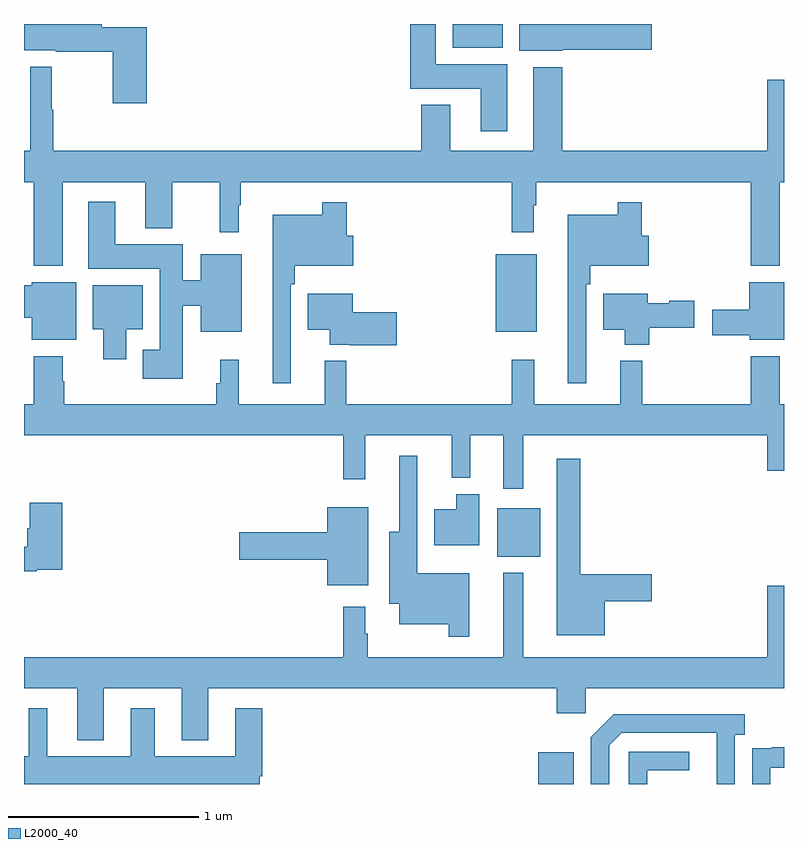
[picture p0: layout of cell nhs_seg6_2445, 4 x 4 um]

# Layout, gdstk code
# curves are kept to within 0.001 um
import gdstk
lib = gdstk.Library(unit=1e-6, precision=1e-09)
def R(c, l, rs):  # rectangles x0, y0, x1, y1
    for r in rs: c.add(gdstk.rectangle(r[:2], r[2:], *l))
def P(c, l, *ps):  # polygons
    for p in ps: c.add(gdstk.Polygon(p, *l))
L2000_40 = (2000, 40)

nhs_seg6_2445 = lib.new_cell('nhs_seg6_2445')
R(nhs_seg6_2445, L2000_40, [(259.706,945.5,259.894,945.667), (259.49,946.697,259.717,946.951), (259.484,947.879,259.699,948.289), (259.256,949.376,259.519,949.5)])
P(nhs_seg6_2445, L2000_40, [(259.836,949.364),(260.305,949.364),(260.305,949.5),(259.607,949.5),(259.607,949.358),(259.836,949.358)],
  [(257.645,949.484),(257.41,949.484),(257.41,949.5),(257,949.5),(257,949.361),(257.166,949.361),(257.166,949.355),(257.467,949.355),(257.467,949.083),(257.645,949.083)],
  [(259.543,949.288),(259.168,949.288),(259.168,949.5),(259.034,949.5),(259.034,949.16),(259.403,949.16),(259.403,948.936),(259.543,948.936)],
  [(257.203,948.668),(257.639,948.668),(257.639,948.425),(257.779,948.425),(257.779,948.668),(258.031,948.668),(258.031,948.405),(258.13,948.405),(258.13,948.545),(258.142,948.545),(258.142,948.668),(259.567,948.668),(259.567,948.405),(259.684,948.405),(259.684,948.545),(259.696,948.545),(259.696,948.668),(260.825,948.668),(260.825,948.227),(260.977,948.227),(260.977,948.668),(261,948.668),(261,949.207),(260.912,949.207),(260.912,948.832),(259.832,948.832),(259.832,949.273),(259.679,949.273),(259.679,948.832),(259.243,948.832),(259.243,949.075),(259.091,949.075),(259.091,948.832),(257.154,948.832),(257.154,949.049),(257.147,949.049),(257.147,949.276),(257.033,949.276),(257.033,948.832),(257,948.832),(257,948.668),(257.051,948.668),(257.051,948.227),(257.203,948.227)],
  [(257.836,948.016),(257.93,948.016),(257.93,947.879),(258.145,947.879),(258.145,948.289),(257.93,948.289),(257.93,948.152),(257.836,948.152),(257.836,948.34),(257.479,948.34),(257.479,948.565),(257.339,948.565),(257.339,948.212),(257.714,948.212),(257.714,947.785),(257.624,947.785),(257.624,947.633),(257.836,947.633)],
  [(259.959,948.131),(259.979,948.131),(259.979,948.227),(260.287,948.227),(260.287,948.385),(260.252,948.385),(260.252,948.562),(260.124,948.562),(260.124,948.496),(259.862,948.496),(259.862,947.61),(259.959,947.61)],
  [(258.405,948.131),(258.425,948.131),(258.425,948.227),(258.733,948.227),(258.733,948.385),(258.698,948.385),(258.698,948.562),(258.57,948.562),(258.57,948.496),(258.308,948.496),(258.308,947.61),(258.405,947.61)],
  [(261,948.142),(260.816,948.142),(260.816,947.996),(260.622,947.996),(260.622,947.861),(260.82,947.861),(260.82,947.837),(261,947.837)],
  [(257.275,948.142),(257.042,948.142),(257.042,948.125),(257,948.125),(257,947.953),(257.042,947.953),(257.042,947.837),(257.275,947.837)],
  [(257.539,947.894),(257.626,947.894),(257.626,948.124),(257.363,948.124),(257.363,947.894),(257.417,947.894),(257.417,947.736),(257.539,947.736)],
  [(258.961,947.984),(258.73,947.984),(258.73,948.079),(258.494,948.079),(258.494,947.891),(258.608,947.891),(258.608,947.813),(258.712,947.813),(258.712,947.808),(258.961,947.808)],
  [(260.291,947.902),(260.527,947.902),(260.527,948.044),(260.397,948.044),(260.397,948.031),(260.284,948.031),(260.284,948.079),(260.048,948.079),(260.048,947.891),(260.162,947.891),(260.162,947.813),(260.291,947.813)],
  [(259.567,947.5),(258.697,947.5),(258.697,947.728),(258.584,947.728),(258.584,947.5),(258.131,947.5),(258.131,947.734),(258.032,947.734),(258.032,947.609),(258.013,947.609),(258.013,947.5),(257.211,947.5),(257.211,947.621),(257.203,947.621),(257.203,947.752),(257.051,947.752),(257.051,947.5),(257,947.5),(257,947.336),(258.679,947.336),(258.679,947.103),(258.797,947.103),(258.797,947.336),(259.25,947.336),(259.25,947.111),(259.348,947.111),(259.348,947.336),(259.523,947.336),(259.523,947.055),(259.627,947.055),(259.627,947.336),(260.912,947.336),(260.912,947.148),(261,947.148),(261,947.5),(260.977,947.5),(260.977,947.752),(260.825,947.752),(260.825,947.5),(260.255,947.5),(260.255,947.728),(260.138,947.728),(260.138,947.5),(259.685,947.5),(259.685,947.734),(259.567,947.734)],
  [(259.344,946.609),(259.071,946.609),(259.071,947.227),(258.974,947.227),(258.974,946.828),(258.923,946.828),(258.923,946.448),(258.974,946.448),(258.974,946.34),(259.236,946.34),(259.236,946.275),(259.344,946.275)],
  [(260.056,946.462),(260.305,946.462),(260.305,946.604),(259.927,946.604),(259.927,947.212),(259.805,947.212),(259.805,946.283),(260.056,946.283)],
  [(259.396,947.026),(259.274,947.026),(259.274,946.945),(259.16,946.945),(259.16,946.757),(259.396,946.757)],
  [(257.067,946.628),(257.201,946.628),(257.201,946.981),(257.03,946.981),(257.03,946.847),(257.017,946.847),(257.017,946.75),(257,946.75),(257,946.621),(257.067,946.621)],
  [(258.811,946.957),(258.596,946.957),(258.596,946.826),(258.132,946.826),(258.132,946.679),(258.596,946.679),(258.596,946.547),(258.811,946.547)],
  [(257.419,946.004),(257.831,946.004),(257.831,945.731),(257.971,945.731),(257.971,946.004),(259.805,946.004),(259.805,945.873),(259.956,945.873),(259.956,946.004),(261,946.004),(261,946.543),(260.912,946.543),(260.912,946.168),(259.627,946.168),(259.627,946.612),(259.523,946.612),(259.523,946.168),(258.808,946.168),(258.808,946.292),(258.795,946.292),(258.795,946.432),(258.679,946.432),(258.679,946.168),(257,946.168),(257,946.004),(257.279,946.004),(257.279,945.731),(257.419,945.731)],
  [(258.241,945.542),(258.254,945.542),(258.254,945.898),(258.113,945.898),(258.113,945.646),(257.689,945.646),(257.689,945.898),(257.561,945.898),(257.561,945.646),(257.122,945.646),(257.122,945.898),(257.024,945.898),(257.024,945.646),(257,945.646),(257,945.5),(258.241,945.5)],
  [(260.079,945.705),(260.145,945.771),(260.645,945.771),(260.646,945.5),(260.742,945.5),(260.742,945.758),(260.794,945.758),(260.794,945.868),(260.104,945.868),(259.983,945.747),(259.983,945.5),(260.079,945.5)],
  [(260.928,945.585),(261,945.585),(261,945.694),(260.935,945.694),(260.935,945.687),(260.833,945.687),(260.833,945.578),(260.832,945.578),(260.832,945.5),(260.928,945.5)],
  [(260.28,945.573),(260.5,945.573),(260.5,945.669),(260.184,945.669),(260.184,945.5),(260.28,945.5)])

lib.write_gds('nhs_seg6_2445.gds')
